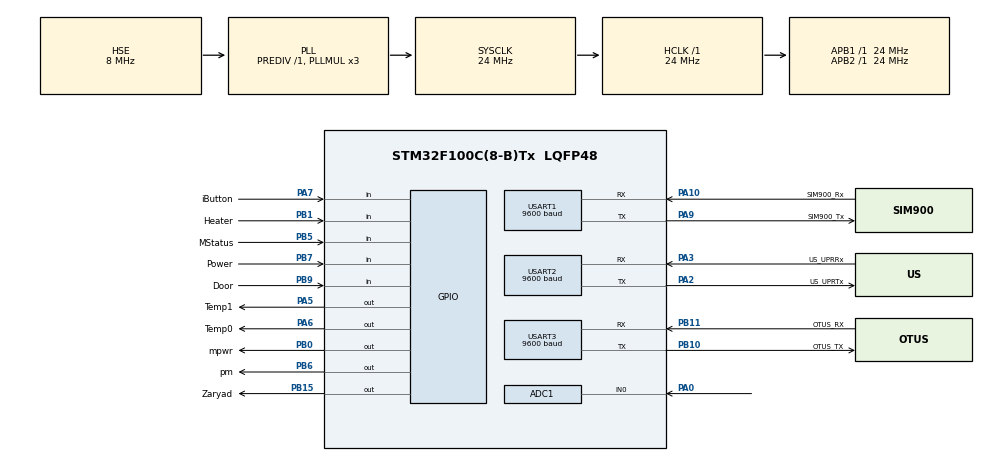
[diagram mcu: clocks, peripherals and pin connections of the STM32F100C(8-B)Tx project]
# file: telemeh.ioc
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ADC1.Channel-0\#ChannelRegularConversion=ADC_CHANNEL_0
ADC1.ContinuousConvMode=DISABLE
ADC1.DataAlign=ADC_DATAALIGN_RIGHT
ADC1.DiscontinuousConvMode=DISABLE
ADC1.EnableAnalogWatchDog=false
ADC1.EnableRegularConversion=ENABLE
ADC1.ExternalTrigConvEdgeChoice=NONE
ADC1.InjNumberOfConversion=0
ADC1.NbrOfConversion=1
ADC1.NbrOfConversionFlag=1
ADC1.Rank-0\#ChannelRegularConversion=1
ADC1.SamplingTime-0\#ChannelRegularConversion=ADC_SAMPLETIME_1CYCLE_5
ADC1.ScanConvMode=ADC_SCAN_DISABLE
ADC1.master=1
IWDG.Prescaler=IWDG_PRESCALER_256
Mcu.Family=STM32F1
Mcu.Name=STM32F100C(8-B)Tx
Mcu.Package=LQFP48
NVIC.ADC1_IRQn=true\:0\:0\:false\:false\:true
NVIC.PriorityGroup=NVIC_PRIORITYGROUP_4
NVIC.USART1_IRQn=true\:0\:0\:false\:false\:true
PA0-WKUP.Signal=ADCx_IN0
PA10.GPIO_Label=SIM900_Rx
PA10.Mode=Asynchronous
PA10.Signal=USART1_RX
PA13.Mode=Serial_Wire
PA13.Signal=SYS_JTMS-SWDIO
PA14.Mode=Serial_Wire
PA14.Signal=SYS_JTCK-SWCLK
PA2.GPIO_Label=US_UPRTx
PA2.Mode=Asynchronous
PA2.Signal=USART2_TX
PA3.GPIO_Label=US_UPRRx
PA3.Mode=Asynchronous
PA3.Signal=USART2_RX
PA5.GPIO_Label=Temp1
PA5.GPIO_ModeDefaultOutputPP=GPIO_MODE_OUTPUT_OD
PA5.GPIO_Speed=GPIO_SPEED_FREQ_HIGH
PA5.Signal=GPIO_Output
PA6.GPIO_Label=Temp0
PA6.GPIO_ModeDefaultOutputPP=GPIO_MODE_OUTPUT_OD
PA6.GPIO_Speed=GPIO_SPEED_FREQ_HIGH
PA6.Signal=GPIO_Output
PA7.GPIO_Label=iButton
PA7.Signal=GPIO_Input
PA9.GPIO_Label=SIM900_Tx
PA9.Mode=Asynchronous
PA9.Signal=USART1_TX
PB0.GPIO_Label=mpwr
PB0.GPIO_ModeDefaultOutputPP=GPIO_MODE_OUTPUT_PP
PB0.GPIO_Speed=GPIO_SPEED_FREQ_HIGH
PB0.PinState=GPIO_PIN_RESET
PB0.Signal=GPIO_Output
PB1.GPIO_Label=Heater
PB1.Signal=GPIO_Input
PB10.GPIO_Label=OTUS_TX
PB10.Mode=Asynchronous
PB10.Signal=USART3_TX
PB11.GPIO_Label=OTUS_RX
PB11.Mode=Asynchronous
PB11.Signal=USART3_RX
PB15.GPIO_Label=Zaryad
PB15.Signal=GPIO_Output
PB5.GPIO_Label=MStatus
PB5.Signal=GPIO_Input
PB6.GPIO_Label=pm
PB6.PinState=GPIO_PIN_SET
PB6.Signal=GPIO_Output
PB7.GPIO_Label=Power
PB7.Signal=GPIO_Input
PB9.GPIO_Label=Door
PB9.Signal=GPIO_Input
PD0-OSC_IN.Mode=HSE-External-Oscillator
PD0-OSC_IN.Signal=RCC_OSC_IN
PD1-OSC_OUT.Mode=HSE-External-Oscillator
PD1-OSC_OUT.Signal=RCC_OSC_OUT
ProjectManager.HeapSize=0x200
ProjectManager.StackSize=0x400
ProjectManager.TargetToolchain=MDK-ARM V5
RCC.AHBFreq_Value=24000000
RCC.APB1Freq_Value=24000000
RCC.APB1TimFreq_Value=24000000
RCC.APB2Freq_Value=24000000
RCC.APB2TimFreq_Value=24000000
RCC.HCLKFreq_Value=24000000
RCC.PLLMUL=RCC_PLL_MUL3
RCC.PLLSource=RCC_PLLSOURCE_HSE
RCC.SYSCLKFreq_VALUE=24000000
RCC.SYSCLKSource=RCC_SYSCLKSOURCE_PLLCLK
SH.ADCx_IN0.0=ADC1_IN0,IN0
TIM6.Period=0xffff
TIM6.Prescaler=24
USART1.BaudRate=9600
USART2.BaudRate=9600
USART3.BaudRate=9600
VP_IWDG_VS_IWDG.Mode=IWDG_Activate
VP_TIM6_VS_ClockSourceINT.Mode=Enable_Timer
VP_WWDG_VS_WWDG.Mode=WWDG_Activate
board=telemeh

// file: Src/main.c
/**
  ******************************************************************************
  * File Name          : main.c
  * Description        : Main program body
  ******************************************************************************
  *
  * COPYRIGHT(c) 2016 STMicroelectronics
  *
  * Redistribution and use in source and binary forms, with or without modification,
  * are permitted provided that the following conditions are met:
  *   1. Redistributions of source code must retain the above copyright notice,
  *      this list of conditions and the following disclaimer.
  *   2. Redistributions in binary form must reproduce the above copyright notice,
  *      this list of conditions and the following disclaimer in the documentation
  *      and/or other materials provided with the distribution.
  *   3. Neither the name of STMicroelectronics nor the names of its contributors
  *      may be used to endorse or promote products derived from this software
  *      without specific prior written permission.
  *
  * THIS SOFTWARE IS PROVIDED BY THE COPYRIGHT HOLDERS AND CONTRIBUTORS "AS IS"
  * AND ANY EXPRESS OR IMPLIED WARRANTIES, INCLUDING, BUT NOT LIMITED TO, THE
  * IMPLIED WARRANTIES OF MERCHANTABILITY AND FITNESS FOR A PARTICULAR PURPOSE ARE
  * DISCLAIMED. IN NO EVENT SHALL THE COPYRIGHT HOLDER OR CONTRIBUTORS BE LIABLE
  * FOR ANY DIRECT, INDIRECT, INCIDENTAL, SPECIAL, EXEMPLARY, OR CONSEQUENTIAL
  * DAMAGES (INCLUDING, BUT NOT LIMITED TO, PROCUREMENT OF SUBSTITUTE GOODS OR
  * SERVICES; LOSS OF USE, DATA, OR PROFITS; OR BUSINESS INTERRUPTION) HOWEVER
  * CAUSED AND ON ANY THEORY OF LIABILITY, WHETHER IN CONTRACT, STRICT LIABILITY,
  * OR TORT (INCLUDING NEGLIGENCE OR OTHERWISE) ARISING IN ANY WAY OUT OF THE USE
  * OF THIS SOFTWARE, EVEN IF ADVISED OF THE POSSIBILITY OF SUCH DAMAGE.
  *
  ******************************************************************************
  */
#include "stm32f1xx_hal.h"

/* USER CODE BEGIN Includes */
#include "uart.h"
#include "gsm.h"
#include "ds18b20.h"
#define send_delay 60000
#define battery_delay 1000
#define battery_ubcarge 900000 // 15 minutes
/* USER CODE END Includes */

ADC_HandleTypeDef hadc1;

IWDG_HandleTypeDef hiwdg;

TIM_HandleTypeDef htim6;

UART_HandleTypeDef huart1;
UART_HandleTypeDef huart2;
UART_HandleTypeDef huart3;

WWDG_HandleTypeDef hwwdg;

/* USER CODE BEGIN PV */
/* Private variables ---------------------------------------------------------*/
// battery voltage
float volts;
/* USER CODE END PV */

void SystemClock_Config(void);
void Error_Handler(void);
static void MX_GPIO_Init(void);
static void MX_USART1_UART_Init(void);
static void MX_USART2_UART_Init(void);
static void MX_USART3_UART_Init(void);
static void MX_TIM6_Init(void);
static void MX_WWDG_Init(void);
static void MX_IWDG_Init(void);
static void MX_ADC1_Init(void);

/* USER CODE BEGIN PFP */
/* Private function prototypes -----------------------------------------------*/

/* USER CODE END PFP */

/* USER CODE BEGIN 0 */
uint32_t time, time_bat, time_charge;
/* USER CODE END 0 */

int main(void)
{

  /* MCU Configuration----------------------------------------------------------*/

  /* Reset of all peripherals, Initializes the Flash interface and the Systick. */
  HAL_Init();

  /* Configure the system clock */
  SystemClock_Config();

  /* Initialize all configured peripherals */
  MX_GPIO_Init();
  MX_USART1_UART_Init();
  MX_USART2_UART_Init();
  MX_USART3_UART_Init();
  MX_TIM6_Init();
  MX_WWDG_Init();
  MX_IWDG_Init();
  MX_ADC1_Init();

  /* USER CODE BEGIN 2 */
	__HAL_TIM_ENABLE(&htim6);
	HAL_ADC_Start_IT(&hadc1);
	UART_Init(&huart1);
	HAL_IWDG_Start(&hiwdg);
	HAL_IWDG_Refresh(&hiwdg);
	GSM_Init(&huart1, &huart2, &hiwdg);
	HAL_IWDG_Refresh(&hiwdg);
	one_wire_init_timer(&htim6);
	HAL_IWDG_Refresh(&hiwdg);
	time = 0;
	time_bat = 0;
	time_charge = 0;
  /* USER CODE END 2 */

  /* Infinite loop */
  /* USER CODE BEGIN WHILE */
  while (1)
  {
		// battery cycle
		if((time_bat + battery_delay) < HAL_GetTick())
		{
			time_bat = HAL_GetTick();
			HAL_ADC_Start_IT(&hadc1);
		}
		HAL_IWDG_Refresh(&hiwdg);
		// sim module cycle
		if((time + send_delay) < HAL_GetTick())
		{
			time = HAL_GetTick();
			Send2Site(&huart1, &huart2, &hiwdg, volts);
			HAL_IWDG_Refresh(&hiwdg);
		}
		HAL_IWDG_Refresh(&hiwdg);
		if((time_charge + battery_ubcarge) < HAL_GetTick())
		{
				HAL_GPIO_WritePin(Zaryad_GPIO_Port, Zaryad_Pin, GPIO_PIN_RESET);
		}

		/* USER CODE END WHILE */

		}

}

/** System Clock Configuration
*/
void SystemClock_Config(void)
{

  RCC_OscInitTypeDef RCC_OscInitStruct;
  RCC_ClkInitTypeDef RCC_ClkInitStruct;
  RCC_PeriphCLKInitTypeDef PeriphClkInit;

  RCC_OscInitStruct.OscillatorType = RCC_OSCILLATORTYPE_LSI|RCC_OSCILLATORTYPE_HSE;
  RCC_OscInitStruct.HSEState = RCC_HSE_ON;
  RCC_OscInitStruct.HSEPredivValue = RCC_HSE_PREDIV_DIV1;
  RCC_OscInitStruct.LSIState = RCC_LSI_ON;
  RCC_OscInitStruct.PLL.PLLState = RCC_PLL_ON;
  RCC_OscInitStruct.PLL.PLLSource = RCC_PLLSOURCE_HSE;
  RCC_OscInitStruct.PLL.PLLMUL = RCC_PLL_MUL3;
  if (HAL_RCC_OscConfig(&RCC_OscInitStruct) != HAL_OK)
  {
    Error_Handler();
  }

  RCC_ClkInitStruct.ClockType = RCC_CLOCKTYPE_HCLK|RCC_CLOCKTYPE_SYSCLK
                              |RCC_CLOCKTYPE_PCLK1|RCC_CLOCKTYPE_PCLK2;
  RCC_ClkInitStruct.SYSCLKSource = RCC_SYSCLKSOURCE_PLLCLK;
  RCC_ClkInitStruct.AHBCLKDivider = RCC_SYSCLK_DIV1;
  RCC_ClkInitStruct.APB1CLKDivider = RCC_HCLK_DIV1;
  RCC_ClkInitStruct.APB2CLKDivider = RCC_HCLK_DIV1;
  if (HAL_RCC_ClockConfig(&RCC_ClkInitStruct, FLASH_LATENCY_0) != HAL_OK)
  {
    Error_Handler();
  }

  PeriphClkInit.PeriphClockSelection = RCC_PERIPHCLK_ADC;
  PeriphClkInit.AdcClockSelection = RCC_ADCPCLK2_DIV2;
  if (HAL_RCCEx_PeriphCLKConfig(&PeriphClkInit) != HAL_OK)
  {
    Error_Handler();
  }

  HAL_SYSTICK_Config(HAL_RCC_GetHCLKFreq()/1000);

  HAL_SYSTICK_CLKSourceConfig(SYSTICK_CLKSOURCE_HCLK);

  /* SysTick_IRQn interrupt configuration */
  HAL_NVIC_SetPriority(SysTick_IRQn, 0, 0);
}

/* ADC1 init function */
static void MX_ADC1_Init(void)
{

  ADC_ChannelConfTypeDef sConfig;

    /**Common config
    */
  hadc1.Instance = ADC1;
  hadc1.Init.ScanConvMode = ADC_SCAN_DISABLE;
  hadc1.Init.ContinuousConvMode = DISABLE;
  hadc1.Init.DiscontinuousConvMode = DISABLE;
  hadc1.Init.ExternalTrigConv = ADC_SOFTWARE_START;
  hadc1.Init.DataAlign = ADC_DATAALIGN_RIGHT;
  hadc1.Init.NbrOfConversion = 1;
  if (HAL_ADC_Init(&hadc1) != HAL_OK)
  {
    Error_Handler();
  }

    /**Configure Regular Channel
    */
  sConfig.Channel = ADC_CHANNEL_0;
  sConfig.Rank = 1;
  sConfig.SamplingTime = ADC_SAMPLETIME_1CYCLE_5;
  if (HAL_ADC_ConfigChannel(&hadc1, &sConfig) != HAL_OK)
  {
    Error_Handler();
  }

}

/* IWDG init function */
static void MX_IWDG_Init(void)
{

  hiwdg.Instance = IWDG;
  hiwdg.Init.Prescaler = IWDG_PRESCALER_256;
  hiwdg.Init.Reload = 4095;
  if (HAL_IWDG_Init(&hiwdg) != HAL_OK)
  {
    Error_Handler();
  }

}

/* TIM6 init function */
static void MX_TIM6_Init(void)
{

  TIM_MasterConfigTypeDef sMasterConfig;

  htim6.Instance = TIM6;
  htim6.Init.Prescaler = 24;
  htim6.Init.CounterMode = TIM_COUNTERMODE_UP;
  htim6.Init.Period = 0xffff;
  if (HAL_TIM_Base_Init(&htim6) != HAL_OK)
  {
    Error_Handler();
  }

  sMasterConfig.MasterOutputTrigger = TIM_TRGO_RESET;
  sMasterConfig.MasterSlaveMode = TIM_MASTERSLAVEMODE_DISABLE;
  if (HAL_TIMEx_MasterConfigSynchronization(&htim6, &sMasterConfig) != HAL_OK)
  {
    Error_Handler();
  }

}

/* USART1 init function */
static void MX_USART1_UART_Init(void)
{

  huart1.Instance = USART1;
  huart1.Init.BaudRate = 9600;
  huart1.Init.WordLength = UART_WORDLENGTH_8B;
  huart1.Init.StopBits = UART_STOPBITS_1;
  huart1.Init.Parity = UART_PARITY_NONE;
  huart1.Init.Mode = UART_MODE_TX_RX;
  huart1.Init.HwFlowCtl = UART_HWCONTROL_NONE;
  huart1.Init.OverSampling = UART_OVERSAMPLING_16;
  if (HAL_UART_Init(&huart1) != HAL_OK)
  {
    Error_Handler();
  }

}

/* USART2 init function */
static void MX_USART2_UART_Init(void)
{

  huart2.Instance = USART2;
  huart2.Init.BaudRate = 9600;
  huart2.Init.WordLength = UART_WORDLENGTH_8B;
  huart2.Init.StopBits = UART_STOPBITS_1;
  huart2.Init.Parity = UART_PARITY_NONE;
  huart2.Init.Mode = UART_MODE_TX_RX;
  huart2.Init.HwFlowCtl = UART_HWCONTROL_NONE;
  huart2.Init.OverSampling = UART_OVERSAMPLING_16;
  if (HAL_UART_Init(&huart2) != HAL_OK)
  {
    Error_Handler();
  }

}

/* USART3 init function */
static void MX_USART3_UART_Init(void)
{

  huart3.Instance = USART3;
  huart3.Init.BaudRate = 9600;
  huart3.Init.WordLength = UART_WORDLENGTH_8B;
  huart3.Init.StopBits = UART_STOPBITS_1;
  huart3.Init.Parity = UART_PARITY_NONE;
  huart3.Init.Mode = UART_MODE_TX_RX;
  huart3.Init.HwFlowCtl = UART_HWCONTROL_NONE;
  huart3.Init.OverSampling = UART_OVERSAMPLING_16;
  if (HAL_UART_Init(&huart3) != HAL_OK)
  {
    Error_Handler();
  }

}

/* WWDG init function */
static void MX_WWDG_Init(void)
{

  hwwdg.Instance = WWDG;
  hwwdg.Init.Prescaler = WWDG_PRESCALER_1;
  hwwdg.Init.Window = 64;
  hwwdg.Init.Counter = 64;
  if (HAL_WWDG_Init(&hwwdg) != HAL_OK)
  {
    Error_Handler();
  }

}

/** Configure pins as
        * Analog
        * Input
        * Output
        * EVENT_OUT
        * EXTI
*/
static void MX_GPIO_Init(void)
{

  GPIO_InitTypeDef GPIO_InitStruct;

  /* GPIO Ports Clock Enable */
  __HAL_RCC_GPIOD_CLK_ENABLE();
  __HAL_RCC_GPIOA_CLK_ENABLE();
  __HAL_RCC_GPIOB_CLK_ENABLE();

  /*Configure GPIO pin Output Level */
  HAL_GPIO_WritePin(GPIOA, Temp1_Pin|Temp0_Pin, GPIO_PIN_RESET);

  /*Configure GPIO pin Output Level */
  HAL_GPIO_WritePin(GPIOB, mpwr_Pin|Zaryad_Pin, GPIO_PIN_RESET);

  /*Configure GPIO pin Output Level */
  HAL_GPIO_WritePin(pm_GPIO_Port, pm_Pin, GPIO_PIN_SET);

  /*Configure GPIO pins : Temp1_Pin Temp0_Pin */
  GPIO_InitStruct.Pin = Temp1_Pin|Temp0_Pin;
  GPIO_InitStruct.Mode = GPIO_MODE_OUTPUT_OD;
  GPIO_InitStruct.Speed = GPIO_SPEED_FREQ_HIGH;
  HAL_GPIO_Init(GPIOA, &GPIO_InitStruct);

  /*Configure GPIO pin : iButton_Pin */
  GPIO_InitStruct.Pin = iButton_Pin;
  GPIO_InitStruct.Mode = GPIO_MODE_INPUT;
  GPIO_InitStruct.Pull = GPIO_NOPULL;
  HAL_GPIO_Init(iButton_GPIO_Port, &GPIO_InitStruct);

  /*Configure GPIO pin : mpwr_Pin */
  GPIO_InitStruct.Pin = mpwr_Pin;
  GPIO_InitStruct.Mode = GPIO_MODE_OUTPUT_PP;
  GPIO_InitStruct.Speed = GPIO_SPEED_FREQ_HIGH;
  HAL_GPIO_Init(mpwr_GPIO_Port, &GPIO_InitStruct);

  /*Configure GPIO pins : Heater_Pin MStatus_Pin Power_Pin Door_Pin */
  GPIO_InitStruct.Pin = Heater_Pin|MStatus_Pin|Power_Pin|Door_Pin;
  GPIO_InitStruct.Mode = GPIO_MODE_INPUT;
  GPIO_InitStruct.Pull = GPIO_NOPULL;
  HAL_GPIO_Init(GPIOB, &GPIO_InitStruct);

  /*Configure GPIO pins : Zaryad_Pin pm_Pin */
  GPIO_InitStruct.Pin = Zaryad_Pin|pm_Pin;
  GPIO_InitStruct.Mode = GPIO_MODE_OUTPUT_PP;
  GPIO_InitStruct.Speed = GPIO_SPEED_FREQ_LOW;
  HAL_GPIO_Init(GPIOB, &GPIO_InitStruct);

}

/* USER CODE BEGIN 4 */
void HAL_ADC_ConvCpltCallback(ADC_HandleTypeDef* hadc)
{
	uint32_t code;
	code = hadc->Instance->DR;
	// code to volts
	volts = (3.3F * code) / 4096;
	// voltage on battery
	volts = volts * 6.71854F;
	if(volts < 12) HAL_GPIO_WritePin(Zaryad_GPIO_Port, Zaryad_Pin, GPIO_PIN_SET);
}
/* USER CODE END 4 */

void Error_Handler(void)
{
  while(1)
  {
  }
}

/************************ (C) COPYRIGHT STMicroelectronics *****END OF FILE****/
